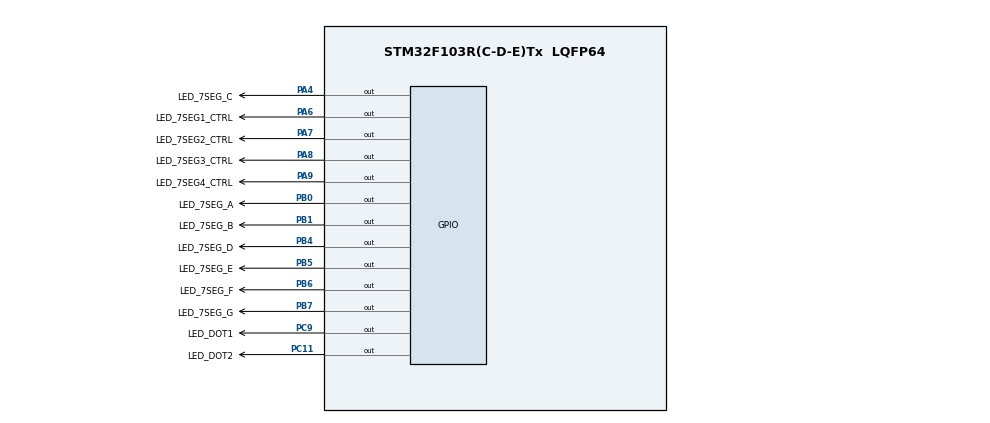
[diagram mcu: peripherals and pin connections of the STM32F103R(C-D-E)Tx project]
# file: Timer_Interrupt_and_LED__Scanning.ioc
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Mcu.Family=STM32F1
Mcu.Name=STM32F103R(C-D-E)Tx
Mcu.Package=LQFP64
NVIC.PriorityGroup=NVIC_PRIORITYGROUP_4
NVIC.TIM2_IRQn=true\:0\:0\:false\:false\:true\:true\:true\:true
PA4.GPIO_Label=LED_7SEG_C
PA4.Signal=GPIO_Output
PA6.GPIO_Label=LED_7SEG1_CTRL
PA6.Signal=GPIO_Output
PA7.GPIO_Label=LED_7SEG2_CTRL
PA7.Signal=GPIO_Output
PA8.GPIO_Label=LED_7SEG3_CTRL
PA8.Signal=GPIO_Output
PA9.GPIO_Label=LED_7SEG4_CTRL
PA9.Signal=GPIO_Output
PB0.GPIO_Label=LED_7SEG_A
PB0.Signal=GPIO_Output
PB1.GPIO_Label=LED_7SEG_B
PB1.Signal=GPIO_Output
PB4.GPIO_Label=LED_7SEG_D
PB4.Signal=GPIO_Output
PB5.GPIO_Label=LED_7SEG_E
PB5.Signal=GPIO_Output
PB6.GPIO_Label=LED_7SEG_F
PB6.Signal=GPIO_Output
PB7.GPIO_Label=LED_7SEG_G
PB7.Signal=GPIO_Output
PC11.GPIO_Label=LED_DOT2
PC11.Signal=GPIO_Output
PC9.GPIO_Label=LED_DOT1
PC9.Signal=GPIO_Output
ProjectManager.HeapSize=0x200
ProjectManager.StackSize=0x400
ProjectManager.TargetToolchain=STM32CubeIDE
RCC.APB1Freq_Value=8000000
RCC.APB2Freq_Value=8000000
RCC.USBFreq_Value=8000000
TIM2.Period=9
TIM2.Prescaler=799
VP_SYS_VS_ND.Mode=No_Debug
VP_TIM2_VS_ClockSourceINT.Mode=Internal
board=custom

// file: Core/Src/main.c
/* USER CODE BEGIN Header */
/**
  ******************************************************************************
  * @file           : main.c
  * @brief          : Main program body
  ******************************************************************************
  * @attention
  *
  * Copyright (c) 2025 STMicroelectronics.
  * All rights reserved.
  *
  * This software is licensed under terms that can be found in the LICENSE file
  * in the root directory of this software component.
  * If no LICENSE file comes with this software, it is provided AS-IS.
  *
  ******************************************************************************
  */
/* USER CODE END Header */
#include "main.h"

TIM_HandleTypeDef htim2;

void SystemClock_Config(void);
static void MX_GPIO_Init(void);
static void MX_TIM2_Init(void);

/* USER CODE BEGIN 0 */
#define MAX_LED 4
uint8_t ledBuffer[MAX_LED] = {1, 2, 3, 4};

void display7SEG(uint8_t num) {
	switch (num) {
		case 0:
			HAL_GPIO_WritePin(LED_7SEG_A_GPIO_Port, LED_7SEG_A_Pin, 0);
			HAL_GPIO_WritePin(LED_7SEG_B_GPIO_Port, LED_7SEG_B_Pin, 0);
			HAL_GPIO_WritePin(LED_7SEG_C_GPIO_Port, LED_7SEG_C_Pin, 0);
			HAL_GPIO_WritePin(LED_7SEG_D_GPIO_Port, LED_7SEG_D_Pin, 0);
			HAL_GPIO_WritePin(LED_7SEG_E_GPIO_Port, LED_7SEG_E_Pin, 0);
			HAL_GPIO_WritePin(LED_7SEG_F_GPIO_Port, LED_7SEG_F_Pin, 0);
			HAL_GPIO_WritePin(LED_7SEG_G_GPIO_Port, LED_7SEG_G_Pin, 1);
			break;
		case 1:
			HAL_GPIO_WritePin(LED_7SEG_A_GPIO_Port, LED_7SEG_A_Pin, 1);
			HAL_GPIO_WritePin(LED_7SEG_B_GPIO_Port, LED_7SEG_B_Pin, 0);
			HAL_GPIO_WritePin(LED_7SEG_C_GPIO_Port, LED_7SEG_C_Pin, 0);
			HAL_GPIO_WritePin(LED_7SEG_D_GPIO_Port, LED_7SEG_D_Pin, 1);
			HAL_GPIO_WritePin(LED_7SEG_E_GPIO_Port, LED_7SEG_E_Pin, 1);
			HAL_GPIO_WritePin(LED_7SEG_F_GPIO_Port, LED_7SEG_F_Pin, 1);
			HAL_GPIO_WritePin(LED_7SEG_G_GPIO_Port, LED_7SEG_G_Pin, 1);
			break;
		case 2:
			HAL_GPIO_WritePin(LED_7SEG_A_GPIO_Port, LED_7SEG_A_Pin, 0);
			HAL_GPIO_WritePin(LED_7SEG_B_GPIO_Port, LED_7SEG_B_Pin, 0);
			HAL_GPIO_WritePin(LED_7SEG_C_GPIO_Port, LED_7SEG_C_Pin, 1);
			HAL_GPIO_WritePin(LED_7SEG_D_GPIO_Port, LED_7SEG_D_Pin, 0);
			HAL_GPIO_WritePin(LED_7SEG_E_GPIO_Port, LED_7SEG_E_Pin, 0);
			HAL_GPIO_WritePin(LED_7SEG_F_GPIO_Port, LED_7SEG_F_Pin, 1);
			HAL_GPIO_WritePin(LED_7SEG_G_GPIO_Port, LED_7SEG_G_Pin, 0);
			break;
		case 3:
			HAL_GPIO_WritePin(LED_7SEG_A_GPIO_Port, LED_7SEG_A_Pin, 0);
			HAL_GPIO_WritePin(LED_7SEG_B_GPIO_Port, LED_7SEG_B_Pin, 0);
			HAL_GPIO_WritePin(LED_7SEG_C_GPIO_Port, LED_7SEG_C_Pin, 0);
			HAL_GPIO_WritePin(LED_7SEG_D_GPIO_Port, LED_7SEG_D_Pin, 0);
			HAL_GPIO_WritePin(LED_7SEG_E_GPIO_Port, LED_7SEG_E_Pin, 1);
			HAL_GPIO_WritePin(LED_7SEG_F_GPIO_Port, LED_7SEG_F_Pin, 1);
			HAL_GPIO_WritePin(LED_7SEG_G_GPIO_Port, LED_7SEG_G_Pin, 0);
			break;
		case 4:
			HAL_GPIO_WritePin(LED_7SEG_A_GPIO_Port, LED_7SEG_A_Pin, 1);
			HAL_GPIO_WritePin(LED_7SEG_B_GPIO_Port, LED_7SEG_B_Pin, 0);
			HAL_GPIO_WritePin(LED_7SEG_C_GPIO_Port, LED_7SEG_C_Pin, 0);
			HAL_GPIO_WritePin(LED_7SEG_D_GPIO_Port, LED_7SEG_D_Pin, 1);
			HAL_GPIO_WritePin(LED_7SEG_E_GPIO_Port, LED_7SEG_E_Pin, 1);
			HAL_GPIO_WritePin(LED_7SEG_F_GPIO_Port, LED_7SEG_F_Pin, 0);
			HAL_GPIO_WritePin(LED_7SEG_G_GPIO_Port, LED_7SEG_G_Pin, 0);
			break;
		case 5:
			HAL_GPIO_WritePin(LED_7SEG_A_GPIO_Port, LED_7SEG_A_Pin, 0);
			HAL_GPIO_WritePin(LED_7SEG_B_GPIO_Port, LED_7SEG_B_Pin, 1);
			HAL_GPIO_WritePin(LED_7SEG_C_GPIO_Port, LED_7SEG_C_Pin, 0);
			HAL_GPIO_WritePin(LED_7SEG_D_GPIO_Port, LED_7SEG_D_Pin, 0);
			HAL_GPIO_WritePin(LED_7SEG_E_GPIO_Port, LED_7SEG_E_Pin, 1);
			HAL_GPIO_WritePin(LED_7SEG_F_GPIO_Port, LED_7SEG_F_Pin, 0);
			HAL_GPIO_WritePin(LED_7SEG_G_GPIO_Port, LED_7SEG_G_Pin, 0);
			break;
		case 6:
			HAL_GPIO_WritePin(LED_7SEG_A_GPIO_Port, LED_7SEG_A_Pin, 0);
			HAL_GPIO_WritePin(LED_7SEG_B_GPIO_Port, LED_7SEG_B_Pin, 1);
			HAL_GPIO_WritePin(LED_7SEG_C_GPIO_Port, LED_7SEG_C_Pin, 0);
			HAL_GPIO_WritePin(LED_7SEG_D_GPIO_Port, LED_7SEG_D_Pin, 0);
			HAL_GPIO_WritePin(LED_7SEG_E_GPIO_Port, LED_7SEG_E_Pin, 0);
			HAL_GPIO_WritePin(LED_7SEG_F_GPIO_Port, LED_7SEG_F_Pin, 0);
			HAL_GPIO_WritePin(LED_7SEG_G_GPIO_Port, LED_7SEG_G_Pin, 0);
			break;
		case 7:
			HAL_GPIO_WritePin(LED_7SEG_A_GPIO_Port, LED_7SEG_A_Pin, 0);
			HAL_GPIO_WritePin(LED_7SEG_B_GPIO_Port, LED_7SEG_B_Pin, 0);
			HAL_GPIO_WritePin(LED_7SEG_C_GPIO_Port, LED_7SEG_C_Pin, 0);
			HAL_GPIO_WritePin(LED_7SEG_D_GPIO_Port, LED_7SEG_D_Pin, 1);
			HAL_GPIO_WritePin(LED_7SEG_E_GPIO_Port, LED_7SEG_E_Pin, 1);
			HAL_GPIO_WritePin(LED_7SEG_F_GPIO_Port, LED_7SEG_F_Pin, 1);
			HAL_GPIO_WritePin(LED_7SEG_G_GPIO_Port, LED_7SEG_G_Pin, 1);
			break;
		case 8:
			HAL_GPIO_WritePin(LED_7SEG_A_GPIO_Port, LED_7SEG_A_Pin, 0);
			HAL_GPIO_WritePin(LED_7SEG_B_GPIO_Port, LED_7SEG_B_Pin, 0);
			HAL_GPIO_WritePin(LED_7SEG_C_GPIO_Port, LED_7SEG_C_Pin, 0);
			HAL_GPIO_WritePin(LED_7SEG_D_GPIO_Port, LED_7SEG_D_Pin, 0);
			HAL_GPIO_WritePin(LED_7SEG_E_GPIO_Port, LED_7SEG_E_Pin, 0);
			HAL_GPIO_WritePin(LED_7SEG_F_GPIO_Port, LED_7SEG_F_Pin, 0);
			HAL_GPIO_WritePin(LED_7SEG_G_GPIO_Port, LED_7SEG_G_Pin, 0);
			break;
		case 9:
			HAL_GPIO_WritePin(LED_7SEG_A_GPIO_Port, LED_7SEG_A_Pin, 0);
			HAL_GPIO_WritePin(LED_7SEG_B_GPIO_Port, LED_7SEG_B_Pin, 0);
			HAL_GPIO_WritePin(LED_7SEG_C_GPIO_Port, LED_7SEG_C_Pin, 0);
			HAL_GPIO_WritePin(LED_7SEG_D_GPIO_Port, LED_7SEG_D_Pin, 0);
			HAL_GPIO_WritePin(LED_7SEG_E_GPIO_Port, LED_7SEG_E_Pin, 1);
			HAL_GPIO_WritePin(LED_7SEG_F_GPIO_Port, LED_7SEG_F_Pin, 0);
			HAL_GPIO_WritePin(LED_7SEG_G_GPIO_Port, LED_7SEG_G_Pin, 0);
			break;

		default:
			HAL_GPIO_WritePin(LED_7SEG_A_GPIO_Port, LED_7SEG_A_Pin, 1);
			HAL_GPIO_WritePin(LED_7SEG_B_GPIO_Port, LED_7SEG_B_Pin, 1);
			HAL_GPIO_WritePin(LED_7SEG_C_GPIO_Port, LED_7SEG_C_Pin, 1);
			HAL_GPIO_WritePin(LED_7SEG_D_GPIO_Port, LED_7SEG_D_Pin, 1);
			HAL_GPIO_WritePin(LED_7SEG_E_GPIO_Port, LED_7SEG_E_Pin, 1);
			HAL_GPIO_WritePin(LED_7SEG_F_GPIO_Port, LED_7SEG_F_Pin, 1);
			HAL_GPIO_WritePin(LED_7SEG_G_GPIO_Port, LED_7SEG_G_Pin, 1);
			break;
	}
}

void update7SEG(uint8_t index) {
  switch (index) {
    case 0:
      HAL_GPIO_WritePin(LED_7SEG1_CTRL_GPIO_Port, LED_7SEG1_CTRL_Pin, 0);
      HAL_GPIO_WritePin(LED_7SEG2_CTRL_GPIO_Port, LED_7SEG2_CTRL_Pin, 1);
      HAL_GPIO_WritePin(LED_7SEG3_CTRL_GPIO_Port, LED_7SEG3_CTRL_Pin, 1);
      HAL_GPIO_WritePin(LED_7SEG4_CTRL_GPIO_Port, LED_7SEG4_CTRL_Pin, 1);
      display7SEG(ledBuffer[0]);
      break;
    case 1:
      HAL_GPIO_WritePin(LED_7SEG1_CTRL_GPIO_Port, LED_7SEG1_CTRL_Pin, 1);
      HAL_GPIO_WritePin(LED_7SEG2_CTRL_GPIO_Port, LED_7SEG2_CTRL_Pin, 0);
      HAL_GPIO_WritePin(LED_7SEG3_CTRL_GPIO_Port, LED_7SEG3_CTRL_Pin, 1);
      HAL_GPIO_WritePin(LED_7SEG4_CTRL_GPIO_Port, LED_7SEG4_CTRL_Pin, 1);
      display7SEG(ledBuffer[1]);
      break;
    case 2:
      HAL_GPIO_WritePin(LED_7SEG1_CTRL_GPIO_Port, LED_7SEG1_CTRL_Pin, 1);
      HAL_GPIO_WritePin(LED_7SEG2_CTRL_GPIO_Port, LED_7SEG2_CTRL_Pin, 1);
      HAL_GPIO_WritePin(LED_7SEG3_CTRL_GPIO_Port, LED_7SEG3_CTRL_Pin, 0);
      HAL_GPIO_WritePin(LED_7SEG4_CTRL_GPIO_Port, LED_7SEG4_CTRL_Pin, 1);
      display7SEG(ledBuffer[2]);
      break;
    case 3:
      HAL_GPIO_WritePin(LED_7SEG1_CTRL_GPIO_Port, LED_7SEG1_CTRL_Pin, 1);
      HAL_GPIO_WritePin(LED_7SEG2_CTRL_GPIO_Port, LED_7SEG2_CTRL_Pin, 1);
      HAL_GPIO_WritePin(LED_7SEG3_CTRL_GPIO_Port, LED_7SEG3_CTRL_Pin, 1);
      HAL_GPIO_WritePin(LED_7SEG4_CTRL_GPIO_Port, LED_7SEG4_CTRL_Pin, 0);
      display7SEG(ledBuffer[3]);
      break;
    default:
      break;
  }
}
/* USER CODE END 0 */

int main(void)
{

  /* MCU Configuration--------------------------------------------------------*/

  /* Reset of all peripherals, Initializes the Flash interface and the Systick. */
  HAL_Init();

  /* Configure the system clock */
  SystemClock_Config();

  /* Initialize all configured peripherals */
  MX_GPIO_Init();
  MX_TIM2_Init();
  /* USER CODE BEGIN 2 */
  HAL_TIM_Base_Start_IT(&htim2);
  HAL_GPIO_WritePin(LED_7SEG1_CTRL_GPIO_Port, LED_7SEG1_CTRL_Pin, 1);
  HAL_GPIO_WritePin(LED_7SEG2_CTRL_GPIO_Port, LED_7SEG2_CTRL_Pin, 1);
  HAL_GPIO_WritePin(LED_7SEG3_CTRL_GPIO_Port, LED_7SEG3_CTRL_Pin, 1);
  HAL_GPIO_WritePin(LED_7SEG4_CTRL_GPIO_Port, LED_7SEG4_CTRL_Pin, 1);
  /* USER CODE END 2 */

  /* Infinite loop */
  while (1)
  {

  }
}

void SystemClock_Config(void)
{
  RCC_OscInitTypeDef RCC_OscInitStruct = {0};
  RCC_ClkInitTypeDef RCC_ClkInitStruct = {0};

  /** Initializes the RCC Oscillators according to the specified parameters
  * in the RCC_OscInitTypeDef structure.
  */
  RCC_OscInitStruct.OscillatorType = RCC_OSCILLATORTYPE_HSI;
  RCC_OscInitStruct.HSIState = RCC_HSI_ON;
  RCC_OscInitStruct.HSICalibrationValue = RCC_HSICALIBRATION_DEFAULT;
  RCC_OscInitStruct.PLL.PLLState = RCC_PLL_NONE;
  if (HAL_RCC_OscConfig(&RCC_OscInitStruct) != HAL_OK)
  {
    Error_Handler();
  }

  /** Initializes the CPU, AHB and APB buses clocks
  */
  RCC_ClkInitStruct.ClockType = RCC_CLOCKTYPE_HCLK|RCC_CLOCKTYPE_SYSCLK
                              |RCC_CLOCKTYPE_PCLK1|RCC_CLOCKTYPE_PCLK2;
  RCC_ClkInitStruct.SYSCLKSource = RCC_SYSCLKSOURCE_HSI;
  RCC_ClkInitStruct.AHBCLKDivider = RCC_SYSCLK_DIV1;
  RCC_ClkInitStruct.APB1CLKDivider = RCC_HCLK_DIV1;
  RCC_ClkInitStruct.APB2CLKDivider = RCC_HCLK_DIV1;

  if (HAL_RCC_ClockConfig(&RCC_ClkInitStruct, FLASH_LATENCY_0) != HAL_OK)
  {
    Error_Handler();
  }
}

static void MX_TIM2_Init(void)
{

  TIM_ClockConfigTypeDef sClockSourceConfig = {0};
  TIM_MasterConfigTypeDef sMasterConfig = {0};

  htim2.Instance = TIM2;
  htim2.Init.Prescaler = 799;
  htim2.Init.CounterMode = TIM_COUNTERMODE_UP;
  htim2.Init.Period = 9;
  htim2.Init.ClockDivision = TIM_CLOCKDIVISION_DIV1;
  htim2.Init.AutoReloadPreload = TIM_AUTORELOAD_PRELOAD_DISABLE;
  if (HAL_TIM_Base_Init(&htim2) != HAL_OK)
  {
    Error_Handler();
  }
  sClockSourceConfig.ClockSource = TIM_CLOCKSOURCE_INTERNAL;
  if (HAL_TIM_ConfigClockSource(&htim2, &sClockSourceConfig) != HAL_OK)
  {
    Error_Handler();
  }
  sMasterConfig.MasterOutputTrigger = TIM_TRGO_RESET;
  sMasterConfig.MasterSlaveMode = TIM_MASTERSLAVEMODE_DISABLE;
  if (HAL_TIMEx_MasterConfigSynchronization(&htim2, &sMasterConfig) != HAL_OK)
  {
    Error_Handler();
  }

}

static void MX_GPIO_Init(void)
{
  GPIO_InitTypeDef GPIO_InitStruct = {0};

  /* GPIO Ports Clock Enable */
  __HAL_RCC_GPIOA_CLK_ENABLE();
  __HAL_RCC_GPIOB_CLK_ENABLE();
  __HAL_RCC_GPIOC_CLK_ENABLE();

  /*Configure GPIO pin Output Level */
  HAL_GPIO_WritePin(GPIOA, LED_7SEG_C_Pin|LED_7SEG1_CTRL_Pin|LED_7SEG2_CTRL_Pin|LED_7SEG3_CTRL_Pin
                          |LED_7SEG4_CTRL_Pin, GPIO_PIN_RESET);

  /*Configure GPIO pin Output Level */
  HAL_GPIO_WritePin(GPIOB, LED_7SEG_A_Pin|LED_7SEG_B_Pin|LED_7SEG_D_Pin|LED_7SEG_E_Pin
                          |LED_7SEG_F_Pin|LED_7SEG_G_Pin, GPIO_PIN_RESET);

  /*Configure GPIO pin Output Level */
  HAL_GPIO_WritePin(GPIOC, LED_DOT1_Pin|LED_DOT2_Pin, GPIO_PIN_RESET);

  /*Configure GPIO pins : LED_7SEG_C_Pin LED_7SEG1_CTRL_Pin LED_7SEG2_CTRL_Pin LED_7SEG3_CTRL_Pin
                           LED_7SEG4_CTRL_Pin */
  GPIO_InitStruct.Pin = LED_7SEG_C_Pin|LED_7SEG1_CTRL_Pin|LED_7SEG2_CTRL_Pin|LED_7SEG3_CTRL_Pin
                          |LED_7SEG4_CTRL_Pin;
  GPIO_InitStruct.Mode = GPIO_MODE_OUTPUT_PP;
  GPIO_InitStruct.Pull = GPIO_NOPULL;
  GPIO_InitStruct.Speed = GPIO_SPEED_FREQ_LOW;
  HAL_GPIO_Init(GPIOA, &GPIO_InitStruct);

  /*Configure GPIO pins : LED_7SEG_A_Pin LED_7SEG_B_Pin LED_7SEG_D_Pin LED_7SEG_E_Pin
                           LED_7SEG_F_Pin LED_7SEG_G_Pin */
  GPIO_InitStruct.Pin = LED_7SEG_A_Pin|LED_7SEG_B_Pin|LED_7SEG_D_Pin|LED_7SEG_E_Pin
                          |LED_7SEG_F_Pin|LED_7SEG_G_Pin;
  GPIO_InitStruct.Mode = GPIO_MODE_OUTPUT_PP;
  GPIO_InitStruct.Pull = GPIO_NOPULL;
  GPIO_InitStruct.Speed = GPIO_SPEED_FREQ_LOW;
  HAL_GPIO_Init(GPIOB, &GPIO_InitStruct);

  /*Configure GPIO pins : LED_DOT1_Pin LED_DOT2_Pin */
  GPIO_InitStruct.Pin = LED_DOT1_Pin|LED_DOT2_Pin;
  GPIO_InitStruct.Mode = GPIO_MODE_OUTPUT_PP;
  GPIO_InitStruct.Pull = GPIO_NOPULL;
  GPIO_InitStruct.Speed = GPIO_SPEED_FREQ_LOW;
  HAL_GPIO_Init(GPIOC, &GPIO_InitStruct);

}

/* USER CODE BEGIN 4 */
#define SCANNING_PERIOD 5 //ms
#define TIMER_CYCLE 1000 //ms
volatile uint16_t timer = TIMER_CYCLE;
volatile uint8_t counter = SCANNING_PERIOD;
volatile uint8_t ledIndex = 0;
void HAL_TIM_PeriodElapsedCallback(TIM_HandleTypeDef *htim) {
  counter--;
  if (counter <= 0) {
    update7SEG(ledIndex);
    ledIndex = (ledIndex + 1) % MAX_LED;
    counter = SCANNING_PERIOD;
  }

  timer--;
  if (timer <= 0) {
    timer = TIMER_CYCLE;
    ledBuffer[3]++;
    if (ledBuffer[3] >= 10) ledBuffer[2]++;
    if (ledBuffer[2] >= 10) ledBuffer[1]++;
    if (ledBuffer[1] >= 10) ledBuffer[0]++;
    ledBuffer[0] %= 10;
    ledBuffer[1] %= 10;
    ledBuffer[2] %= 10;
    ledBuffer[3] %= 10;

    HAL_GPIO_TogglePin(LED_DOT1_GPIO_Port, LED_DOT1_Pin);
    HAL_GPIO_TogglePin(LED_DOT2_GPIO_Port, LED_DOT2_Pin);
  }
}
/* USER CODE END 4 */

void Error_Handler(void)
{
  __disable_irq();
  while (1)
  {
  }
}
